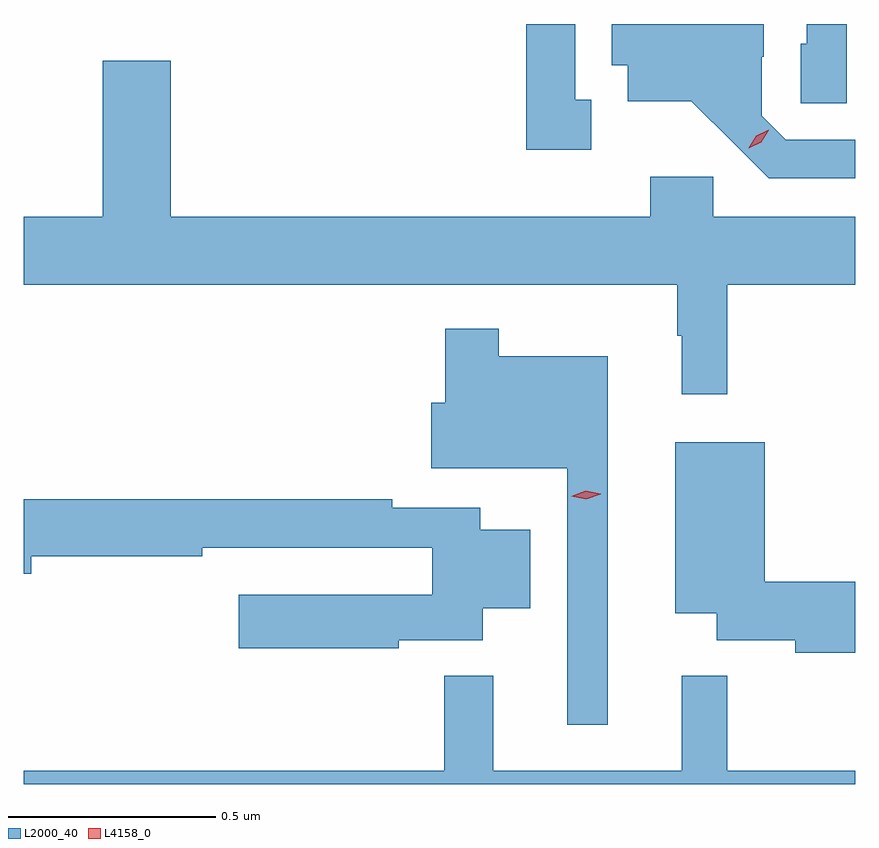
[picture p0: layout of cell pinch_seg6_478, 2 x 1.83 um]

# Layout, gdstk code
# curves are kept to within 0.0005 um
import gdstk
lib = gdstk.Library(unit=1e-6, precision=1e-09)
def P(c, l, *ps):  # polygons
    for p in ps: c.add(gdstk.Polygon(p, *l))
L2000_40 = (2000, 40)
L4158_0 = (4158, 0)

pinch_seg6_478 = lib.new_cell('pinch_seg6_478')
P(pinch_seg6_478, L2000_40, [(765.583,917.145),(765.544,917.145),(765.544,917.327),(765.426,917.327),(765.426,917.025),(765.583,917.025)],
  [(766.197,917.327),(766.101,917.327),(766.101,917.28),(766.086,917.28),(766.086,917.137),(766.197,917.137)],
  [(766.218,917.049),(766.05,917.049),(765.993,917.106),(765.993,917.248),(765.997,917.248),(765.997,917.327),(765.632,917.327),(765.632,917.228),(765.671,917.228),(765.671,917.141),(765.823,917.141),(766.01,916.956),(766.218,916.956)],
  [(765.876,916.96),(765.725,916.96),(765.725,916.864),(764.572,916.864),(764.572,917.239),(764.408,917.239),(764.408,916.864),(764.218,916.864),(764.218,916.7),(765.789,916.7),(765.789,916.577),(765.8,916.577),(765.8,916.437),(765.91,916.437),(765.91,916.7),(766.218,916.7),(766.218,916.864),(765.876,916.864)],
  [(765.622,916.528),(765.361,916.528),(765.361,916.594),(765.232,916.594),(765.232,916.417),(765.198,916.417),(765.198,916.259),(765.525,916.259),(765.525,915.642),(765.622,915.642)],
  [(766.218,915.986),(766,915.986),(766,916.321),(765.785,916.321),(765.785,915.911),(765.884,915.911),(765.884,915.845),(766.073,915.845),(766.073,915.815),(766.218,915.815)],
  [(765.12,915.845),(765.322,915.845),(765.322,915.923),(765.436,915.923),(765.436,916.111),(765.316,916.111),(765.316,916.164),(765.104,916.164),(765.104,916.184),(764.218,916.184),(764.218,916.006),(764.236,916.006),(764.236,916.048),(764.648,916.048),(764.648,916.068),(765.2,916.068),(765.2,915.955),(764.736,915.955),(764.736,915.826),(765.12,915.826)],
  [(765.91,915.76),(765.8,915.76),(765.8,915.532),(765.347,915.532),(765.347,915.76),(765.229,915.76),(765.229,915.532),(764.218,915.532),(764.218,915.5),(766.218,915.5),(766.218,915.532),(765.91,915.532)])
P(pinch_seg6_478, L4158_0, [(765.961,917.028),(765.961,917.029),(765.979,917.058),(766.009,917.073),(766.01,917.073),(766.01,917.072),(765.992,917.043),(765.962,917.028)],
  [(765.571,916.185),(765.535,916.192),(765.535,916.192),(765.535,916.192),(765.57,916.205),(765.606,916.198),(765.606,916.197),(765.606,916.197)])

lib.write_gds('pinch_seg6_478.gds')
